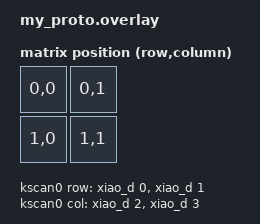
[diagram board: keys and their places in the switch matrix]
#include <dt-bindings/zmk/matrix_transform.h>
#include <dt-bindings/gpio/gpio.h>

/ {
    chosen {
        zmk,kscan = &kscan0;
        zmk,matrix_transform = &default_transform;
        zephyr,display = &oled;
        zmk,battery = &vbatt;
    };

    /* キーボードマトリクスの定義 */
    kscan0: kscan {
        compatible = "zmk,kscan-gpio-matrix";
        label = "KSCAN";
        diode-direction = "col2row";
        row-gpios = <&xiao_d 0 (GPIO_ACTIVE_HIGH | GPIO_PULL_DOWN)>,
                    <&xiao_d 1 (GPIO_ACTIVE_HIGH | GPIO_PULL_DOWN)>;
        col-gpios = <&xiao_d 2 GPIO_ACTIVE_HIGH>,
                    <&xiao_d 3 GPIO_ACTIVE_HIGH>;
    };

    /* マトリクス変換の定義 (2x2) */
    default_transform: matrix_transform {
        compatible = "zmk,matrix-transform";
        columns = <2>;
        rows = <2>;
        map = <
            RC(0,0) RC(0,1)
            RC(1,0) RC(1,1)
        >;
    };

    /* バッテリー電圧監視の定義 (エラー箇所) */
    vbatt: vbatt {
        compatible = "zmk,battery-voltage-divider";
        label = "BATTERY";
        /* XIAO BLEのP0.14(AIN7)を使用 */
        io-channels = <&adc 7>; 
        full-ohms = <1000000>;
        output-ohms = <510000>;
    };
};

&pinctrl {
    i2c0_default: i2c0_default {
        group1 {
            psels = <NRF_PSEL(TWIM_SDA, 0, 4)>, /* D4 (P0.04) */
                    <NRF_PSEL(TWIM_SCL, 0, 5)>; /* D5 (P0.05) */
            bias-pull-up; /* 内部プルアップも念のため有効化 */
        };
    };

    i2c0_sleep: i2c0_sleep {
        group1 {
            psels = <NRF_PSEL(TWIM_SDA, 0, 4)>,
                    <NRF_PSEL(TWIM_SCL, 0, 5)>;
            low-power-enable;
        };
    };
};

&xiao_i2c {
    status = "okay";
    /*     clock-frequency = <100000>; */
    pinctrl-0 = <&i2c0_default>;
    pinctrl-1 = <&i2c0_sleep>;
    pinctrl-names = "default", "sleep";
    /* OLED 128x32 ディスプレイの定義 */
    oled: ssd1306@3c {
        compatible = "solomon,ssd1306fb";
        reg = <0x3c>;
        width = <128>;
        height = <64>;
        display-offset = <0>;
        multiplex-ratio = <63>;
        segment-offset = <0>;
        page-offset = <0>;
        prechargep = <0x22>;
    };
};

/* ADCを有効化 (バッテリー監視に必要) */
&adc {
    status = "okay";
};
